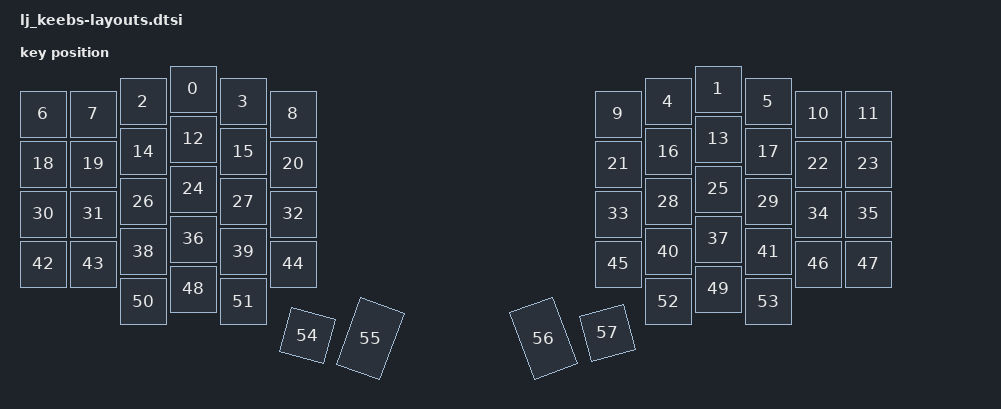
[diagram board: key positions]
#include <physical_layouts.dtsi>

/ {
	physical_layout0: physical_layout0 {
		compatible = "zmk,physical-layout";
		transform = <&default_transform>;
		display-name = "Default Layout";
		
		
		keys//                     w   h    x    y     rot    rx    ry
		= <&key_physical_attrs 100 100  300    0       0     0     0>
		, <&key_physical_attrs 100 100 1350    0       0     0     0>
		, <&key_physical_attrs 100 100  200   25       0     0     0>
		, <&key_physical_attrs 100 100  400   25       0     0     0>
		, <&key_physical_attrs 100 100 1250   25       0     0     0>
		, <&key_physical_attrs 100 100 1450   25       0     0     0>
		, <&key_physical_attrs 100 100    0   50       0     0     0>
		, <&key_physical_attrs 100 100  100   50       0     0     0>
		, <&key_physical_attrs 100 100  500   50       0     0     0>
		, <&key_physical_attrs 100 100 1150   50       0     0     0>
		, <&key_physical_attrs 100 100 1550   50       0     0     0>
		, <&key_physical_attrs 100 100 1650   50       0     0     0>
		, <&key_physical_attrs 100 100  300  100       0     0     0>
		, <&key_physical_attrs 100 100 1350  100       0     0     0>
		, <&key_physical_attrs 100 100  200  125       0     0     0>
		, <&key_physical_attrs 100 100  400  125       0     0     0>
		, <&key_physical_attrs 100 100 1250  125       0     0     0>
		, <&key_physical_attrs 100 100 1450  125       0     0     0>
		, <&key_physical_attrs 100 100    0  150       0     0     0>
		, <&key_physical_attrs 100 100  100  150       0     0     0>
		, <&key_physical_attrs 100 100  500  150       0     0     0>
		, <&key_physical_attrs 100 100 1150  150       0     0     0>
		, <&key_physical_attrs 100 100 1550  150       0     0     0>
		, <&key_physical_attrs 100 100 1650  150       0     0     0>
		, <&key_physical_attrs 100 100  300  200       0     0     0>
		, <&key_physical_attrs 100 100 1350  200       0     0     0>
		, <&key_physical_attrs 100 100  200  225       0     0     0>
		, <&key_physical_attrs 100 100  400  225       0     0     0>
		, <&key_physical_attrs 100 100 1250  225       0     0     0>
		, <&key_physical_attrs 100 100 1450  225       0     0     0>
		, <&key_physical_attrs 100 100    0  250       0     0     0>
		, <&key_physical_attrs 100 100  100  250       0     0     0>
		, <&key_physical_attrs 100 100  500  250       0     0     0>
		, <&key_physical_attrs 100 100 1150  250       0     0     0>
		, <&key_physical_attrs 100 100 1550  250       0     0     0>
		, <&key_physical_attrs 100 100 1650  250       0     0     0>
		, <&key_physical_attrs 100 100  300  300       0     0     0>
		, <&key_physical_attrs 100 100 1350  300       0     0     0>
		, <&key_physical_attrs 100 100  200  325       0     0     0>
		, <&key_physical_attrs 100 100  400  325       0     0     0>
		, <&key_physical_attrs 100 100 1250  325       0     0     0>
		, <&key_physical_attrs 100 100 1450  325       0     0     0>
		, <&key_physical_attrs 100 100    0  350       0     0     0>
		, <&key_physical_attrs 100 100  100  350       0     0     0>
		, <&key_physical_attrs 100 100  500  350       0     0     0>
		, <&key_physical_attrs 100 100 1150  350       0     0     0>
		, <&key_physical_attrs 100 100 1550  350       0     0     0>
		, <&key_physical_attrs 100 100 1650  350       0     0     0>
		, <&key_physical_attrs 100 100  300  400       0     0     0>
		, <&key_physical_attrs 100 100 1350  400       0     0     0>
		, <&key_physical_attrs 100 100  200  425       0     0     0>
		, <&key_physical_attrs 100 100  400  425       0     0     0>
		, <&key_physical_attrs 100 100 1250  425       0     0     0>
		, <&key_physical_attrs 100 100 1450  425       0     0     0>
		, <&key_physical_attrs 100 100  650  325    1500     0     0>
		, <&key_physical_attrs 100 150  800  200    2000     0     0>
		, <&key_physical_attrs 100 150  750  800 (-2000)     0     0>
		, <&key_physical_attrs 100 100  950  775 (-1500)     0     0>
		;
	};
};

/ {
	position_map {
		compatible = "zmk,physical-layout-position-map";
		
		physical_layout0: base {
			physical-layout = <&physical_layout0>;
			positions
			= < 6  7  2  0  3  8  9  4  1  5 10 11>
			, <18 19 14 12 15 20 21 16 13 17 22 23>
			, <30 31 26 24 27 32 33 28 25 29 34 35>
			, <42 43 38 36 39 44 45 40 37 41 46 47>
			, <50 48 51 54 55 56 57 52 49 53>
			;
		};
	};
};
